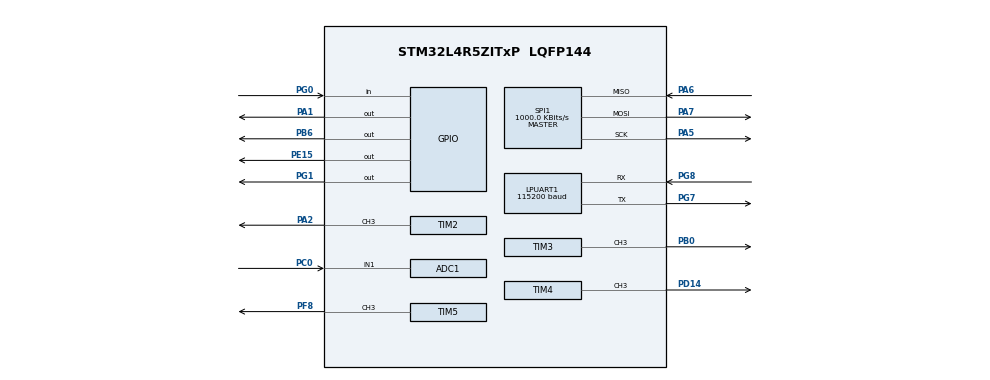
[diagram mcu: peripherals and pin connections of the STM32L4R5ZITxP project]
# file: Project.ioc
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ADC1.Channel-0\#ChannelRegularConversion=ADC_CHANNEL_1
ADC1.ClockPrescaler=ADC_CLOCK_ASYNC_DIV32
ADC1.NbrOfConversionFlag=1
ADC1.OffsetNumber-0\#ChannelRegularConversion=ADC_OFFSET_NONE
ADC1.Rank-0\#ChannelRegularConversion=1
ADC1.SamplingTime-0\#ChannelRegularConversion=ADC_SAMPLETIME_640CYCLES_5
ADC1.master=1
LPUART1.BaudRate=115200
LPUART1.WordLength=UART_WORDLENGTH_8B
Mcu.Family=STM32L4
Mcu.Name=STM32L4R5ZITxP
Mcu.Package=LQFP144
NVIC.PriorityGroup=NVIC_PRIORITYGROUP_4
PA1.Signal=GPIO_Output
PA2.Signal=S_TIM2_CH3
PA5.Mode=Full_Duplex_Master
PA5.Signal=SPI1_SCK
PA6.Mode=Full_Duplex_Master
PA6.Signal=SPI1_MISO
PA7.Mode=Full_Duplex_Master
PA7.Signal=SPI1_MOSI
PB0.Signal=S_TIM3_CH3
PB6.Signal=GPIO_Output
PC0.Signal=ADCx_IN1
PD14.Signal=S_TIM4_CH3
PE15.Signal=GPIO_Output
PF8.Signal=S_TIM5_CH3
PG0.GPIO_PuPd=GPIO_PULLDOWN
PG0.Signal=GPIO_Input
PG1.Signal=GPIO_Output
PG7.Mode=Asynchronous
PG7.Signal=LPUART1_TX
PG8.Mode=Asynchronous
PG8.Signal=LPUART1_RX
ProjectManager.HeapSize=0x200
ProjectManager.StackSize=0x400
ProjectManager.TargetToolchain=STM32CubeIDE
RCC.ADCFreq_Value=32000000
RCC.HSE_VALUE=8000000
RCC.HSI48_VALUE=48000000
RCC.HSI_VALUE=16000000
RCC.LSE_VALUE=32768
RCC.MSI_VALUE=4000000
RCC.PLLSAI1N=16
RCC.USBFreq_Value=32000000
RCC.VCOOutputFreq_Value=32000000
SH.ADCx_IN1.0=ADC1_IN1,IN1-Single-Ended
SH.S_TIM2_CH3.0=TIM2_CH3,PWM Generation3 CH3
SH.S_TIM3_CH3.0=TIM3_CH3,PWM Generation3 CH3
SH.S_TIM4_CH3.0=TIM4_CH3,PWM Generation3 CH3
SH.S_TIM5_CH3.0=TIM5_CH3,PWM Generation3 CH3
SPI1.BaudRatePrescaler=SPI_BAUDRATEPRESCALER_4
SPI1.CLKPhase=SPI_PHASE_1EDGE
SPI1.CLKPolarity=SPI_POLARITY_LOW
SPI1.CalculateBaudRate=1000.0 KBits/s
SPI1.DataSize=SPI_DATASIZE_8BIT
SPI1.Direction=SPI_DIRECTION_2LINES
SPI1.Mode=SPI_MODE_MASTER
SPI1.VirtualType=VM_MASTER
TIM2.Channel-PWM\ Generation3\ CH3=TIM_CHANNEL_3
TIM2.Period=159
TIM2.Prescaler=0
TIM2.Pulse-PWM\ Generation3\ CH3=79
TIM3.Channel-PWM\ Generation3\ CH3=TIM_CHANNEL_3
TIM3.Period=159
TIM3.Prescaler=0
TIM3.Pulse-PWM\ Generation3\ CH3=79
TIM4.Channel-PWM\ Generation3\ CH3=TIM_CHANNEL_3
TIM4.Period=249
TIM4.Prescaler=39
TIM4.Pulse-PWM\ Generation3\ CH3=79
TIM5.Channel-PWM\ Generation3\ CH3=TIM_CHANNEL_3
TIM5.Period=1999
TIM5.Prescaler=39
TIM5.Pulse-PWM\ Generation3\ CH3=10
VP_TIM2_VS_ClockSourceINT.Mode=Internal
VP_TIM3_VS_ClockSourceINT.Mode=Internal
VP_TIM4_VS_ClockSourceINT.Mode=Internal
board=custom

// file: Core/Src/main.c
/* USER CODE BEGIN Header */
/**
  ******************************************************************************
  * @file           : main.c
  * @brief          : Main program body
  ******************************************************************************
  * @attention
  *
  * Copyright (c) 2022 STMicroelectronics.
  * All rights reserved.
  *
  * This software is licensed under terms that can be found in the LICENSE file
  * in the root directory of this software component.
  * If no LICENSE file comes with this software, it is provided AS-IS.
  *
  ******************************************************************************
  */
/* USER CODE END Header */
#include "main.h"

ADC_HandleTypeDef hadc1;

UART_HandleTypeDef hlpuart1;

SPI_HandleTypeDef hspi1;

TIM_HandleTypeDef htim2;
TIM_HandleTypeDef htim3;
TIM_HandleTypeDef htim4;
TIM_HandleTypeDef htim5;

void SystemClock_Config(void);
static void MX_GPIO_Init(void);
static void MX_SPI1_Init(void);
static void MX_LPUART1_UART_Init(void);
static void MX_ADC1_Init(void);
static void MX_TIM2_Init(void);
static void MX_TIM3_Init(void);
static void MX_TIM4_Init(void);
static void MX_TIM5_Init(void);

/* USER CODE BEGIN 0 */
#include "stdio.h"

// ============================
//
// Start: Code originated from Pixy Documentation
//
// ============================

#define PIXY_ARRAYSIZE              100
#define PIXY_START_WORD             0xaa55
#define PIXY_START_WORD_CC          0xaa56
#define PIXY_START_WORDX            0x55aa

#define PIXY_SYNC_BYTE              0x5a
#define PIXY_SYNC_BYTE_DATA         0x5b

// the routines
void pixy_init();
int getStart(void);
uint16_t getBlocks(uint16_t maxBlocks);
static uint16_t getWord(void);
uint8_t getByte(uint8_t out);

typedef enum
{
  NORMAL_BLOCK,
  CC_BLOCK // color code block
} BlockType;

typedef struct
{
  uint16_t signature;
  uint16_t x;
  uint16_t y;
  uint16_t width;
  uint16_t height;
  uint16_t angle; // angle is only available for color coded blocks
} Block;

static BlockType g_blockType; // use this to remember the next object block type between function calls
static int g_skipStart = 0;
static Block *g_blocks;

int getStart(void)
{
  uint16_t w, lastw;

  lastw = 0xffff; // some inconsequential initial value

  while(1)
  {
    w = getWord();
    //printf("%x\n", w);
    if (w==0 && lastw==0){

      return 0; // in I2C and SPI modes this means no data, so return immediately
    }
    else if (w==PIXY_START_WORD && lastw==PIXY_START_WORD)
    {
      g_blockType = NORMAL_BLOCK; // remember block type
      return 1; // code found!
    }
    else if (w==PIXY_START_WORD_CC && lastw==PIXY_START_WORD)
    {
      g_blockType = CC_BLOCK; // found color code block
      return 1;
    }
    else if (w==PIXY_START_WORDX) // this is important, we might be juxtaposed
      getByte(0); // we're out of sync! (backwards)
    lastw = w; // save
  }
}

uint16_t getBlocks(uint16_t maxBlocks)
{
  uint8_t i;
  uint16_t w, blockCount, checksum, sum;
  Block *block;

  if (!g_skipStart)
  {
    if (getStart()==0)
      return 0;
  }
  else
    g_skipStart = 0;

  for(blockCount=0; blockCount<maxBlocks && blockCount<PIXY_ARRAYSIZE;)
  {
    checksum = getWord();
    if (checksum==PIXY_START_WORD) // we've reached the beginning of the next frame
    {
      g_skipStart = 1;
      g_blockType = NORMAL_BLOCK;
      return blockCount;
    }
    else if (checksum==PIXY_START_WORD_CC)
    {
      g_skipStart = 1;
      g_blockType = CC_BLOCK;
      return blockCount;
    }
    else if (checksum==0)
      return blockCount;

    block = g_blocks + blockCount;

    for (i=0, sum=0; i<sizeof(Block)/sizeof(uint16_t); i++)
    {
      if (g_blockType==NORMAL_BLOCK && i>=5) // no angle for normal block
      {
        block->angle = 0;
        break;
      }
      w = getWord();
      sum += w;
      *((uint16_t *)block + i) = w;
    }

    // check checksum
    if (checksum==sum)
      blockCount++;
    else
      printf("checksum error!\n");

    w = getWord();
    if (w==PIXY_START_WORD)
      g_blockType = NORMAL_BLOCK;
    else if (w==PIXY_START_WORD_CC)
      g_blockType = CC_BLOCK;
    else
      return blockCount;
  }
}

void pixy_init()
{
  g_blocks = (Block *)malloc(sizeof(Block)*PIXY_ARRAYSIZE);
}

// ============================
//
// End: Code originated from Pixy Documentation
//
// ============================

// ============================
//
// Start: Code to handle PWM and State
//
// ============================

// Sets a timer's PWM to a value
// timerIndex = which timer (eg TIM2 -> pass 2, TIM3 -> pass 3)
// pwmVal = value to set that timer's CCR to; these should be defined below
void SetPWM(uint16_t timerIndex, uint16_t pwmVal)
{
	TIM_TypeDef* timer;

	switch (timerIndex)
	{
	case 2:
		timer = TIM2;
		break;
	case 3:
		timer = TIM3;
		break;
	case 4:
		timer = TIM4;
		break;
	case 5:
		timer = TIM5;
		break;
	default:
		return; // just in case.
	}

	timer->CCR3 = pwmVal;
}

// States the machine will be in
#define STATE_FIND_BALL		0
#define STATE_GRAB_BALL		1
#define STATE_RETURN_BALL	2
#define STATE_IDLE			4

uint8_t currentState = STATE_IDLE;

// Updates the current state
void UpdateState(uint8_t nextState)
{
	currentState = nextState;
	ResetAverage();
	/*
	switch(currentState)
	{
	case STATE_FIND_BALL:
		ResetAverage();
		break;
	case STATE_GRAB_BALL:
		break;
	case STATE_RETURN_BALL:
		ResetAverage();
		break;
	case STATE_
	}
	//*/
}

// ============================
//
// Start: Code to handle start button and head
//
// ============================

void CheckButton()
{
	if (HAL_GPIO_ReadPin(GPIOG, GPIO_PIN_0))
		UpdateState(STATE_FIND_BALL);
}

#define HEAD_SERVO_MID			140
#define HEAD_SERVO_MAX			180
#define HEAD_SERVO_MIN			100
#define HEAD_SERVO_CHANGE		2
#define HEAD_SERVO_COUNTER_MAX	80

uint16_t headServoWidth = HEAD_SERVO_MIN;
uint16_t headServoChange = HEAD_SERVO_CHANGE;
uint16_t headServoCounter = 0;

void UpdateHead()
{
	headServoCounter += 1;
	if (headServoCounter < HEAD_SERVO_COUNTER_MAX)
		return;

	headServoCounter = 0;
	if (currentState == STATE_IDLE ||
		currentState == STATE_GRAB_BALL)
	{
		headServoWidth = HEAD_SERVO_MID;
	}
	else
	{
		headServoWidth += headServoChange;
		if (headServoWidth >= HEAD_SERVO_MAX)
			headServoChange = -1 * HEAD_SERVO_CHANGE;
		if (headServoWidth <= HEAD_SERVO_MIN)
			headServoChange = HEAD_SERVO_CHANGE;
	}
	SetPWM(5, headServoWidth);
}

// ============================
//
// Start: Code to handle data from the Pixy cam
//
// ============================

// Structures to get data from the Pixy cam
uint8_t rx_data[2];
uint8_t tx_data[2] = { PIXY_SYNC_BYTE, 0 };

// Gets one byte from the Pixy cam
uint8_t getByte(uint8_t output)
{
	HAL_StatusTypeDef hal_status;
	uint8_t data = 0;

	HAL_GPIO_WritePin(GPIOB, GPIO_PIN_6, GPIO_PIN_RESET);
	hal_status = HAL_SPI_TransmitReceive(&hspi1, &output, &data, 1, 0xFFFFFFFF);
	HAL_GPIO_WritePin(GPIOB, GPIO_PIN_6, GPIO_PIN_SET);

	if (hal_status != HAL_OK)
	{
		printf("not ok\n");
	}

	return data;
}

// Gets a word (2 bytes) from the Pixy cam
uint16_t getWord(void)
{
	uint16_t w;

	rx_data[0] = getByte(PIXY_SYNC_BYTE_DATA);
	rx_data[1] = getByte(0);

	w = rx_data[0];
	w <<= 8;
	w |= rx_data[1];

	return w;
}

// Variables for handling the running average
// We're just keeping track of the X value of whatever we're tracking
uint16_t xVals[4] = { 0, 0, 0, 0 };
uint16_t xValsIndex = 0;
float runningAverage = 0.0f;

// Resets the running average and array
void ResetAverage()
{
	xVals[0] = xVals[1] = xVals[2] = xVals[3] = 0;
	runningAverage = 0.0f;
}

// Gets the index of whatever signature we're looking for in the block data from the Pixy cam
// I'm basically assuming whatever we're looking for will be the first piece of data in the blocks.
uint16_t GetSignatureIndex(uint32_t num_blocks, uint16_t sigVal)
{
	int i = 0;
	while (i < num_blocks)
	{
		if (g_blocks[i].signature == sigVal)
		{
			printf("index: %d\n", i);
			return i;
		}
		i++;
	}
	return num_blocks;
}

// Signatures of the items we're looking for
// Will need to make sure these match the actual signatures in the Pixy cam
#define PIXY_SIG_BALL				1
#define PIXY_SIG_RETURN				2
#define NO_BALL_LIMIT				50

// temporary, idk if it'll even work
#define HEIGHT	185

uint16_t noBallCounter = 0;
uint16_t objectWidth = 0;
// Gets the X value of the signature items and updates the running average
// sig = one of the two signatures defined above
void GetNextX(uint16_t sig)
{
	uint32_t num_blocks = getBlocks(PIXY_ARRAYSIZE);
	if (!num_blocks)
	{
		noBallCounter += 1;
		if (noBallCounter >= NO_BALL_LIMIT)
			ResetAverage();
		return;
	}

	noBallCounter = 0;

	uint16_t index = GetSignatureIndex(num_blocks, sig);
	if (index == num_blocks)
		return;

	uint16_t newX = g_blocks[index].x;
	int16_t diff = newX - xVals[xValsIndex];
	runningAverage += diff * 0.25f;

	xVals[xValsIndex] = newX;
	xValsIndex = (xValsIndex + 1) % 4;

	if (g_blocks[index].y >= HEIGHT && currentState == STATE_FIND_BALL)
	{
		UpdateState(STATE_GRAB_BALL);
	}

	objectWidth = g_blocks[index].width;
}

// Updates the Pixy cam
void UpdatePixyCam()
{
	switch (currentState)
	{
	case STATE_FIND_BALL:
		GetNextX(PIXY_SIG_BALL);
		break;
	case STATE_GRAB_BALL:
		return; // pixy cam doesn't need to do anything here
	case STATE_RETURN_BALL:
		GetNextX(PIXY_SIG_RETURN);
		break;
	}
}

// ============================
//
// Start: Code to handle wheel control
//
// ============================

// Defines to make code more readable.
#define WHEEL_LEFT			2
#define WHEEL_RIGHT			3
#define WHEEL_SPEED_ZERO	139
#define WHEEL_SPEED_MAX		0
#define WHEEL_SPEED_FULL	80
#define WHEEL_SPEED_HALF	100
#define MAX_BALL_X			190
#define MIN_BALL_X			130
#define MAX_RETURN_X		220
#define MIN_RETURN_X		100

// Sets the wheel speed
// speed = PWM value for the wheel
// wheel = which wheel to use
// Use the defines above.
void SetWheelSpeed(uint8_t wheel, uint8_t speed)
{
	// still need to determine which timer is controlling which wheel
	// speed = PWM value
	SetPWM(wheel, speed);
}

#define RETURN_WIDTH	60

// Updates the wheel speed
// avgMax = max value the running average can be
// avgMin = min value the running average can be
// speed = speed to set the wheels
// This will turn off one of the wheels depending on where the ball is
void UpdateWheelSpeed(uint16_t avgMax, uint16_t avgMin, uint8_t speed)
{
	uint8_t wheelLeftSpeed = speed;
	uint8_t wheelRightSpeed = speed;
	if (runningAverage < avgMin)
		wheelLeftSpeed = WHEEL_SPEED_ZERO;
	if (runningAverage > avgMax)
		wheelRightSpeed = WHEEL_SPEED_ZERO;

	SetWheelSpeed(WHEEL_LEFT, wheelLeftSpeed);
	SetWheelSpeed(WHEEL_RIGHT, wheelRightSpeed);
}

// Updates the wheels
void UpdateWheels()
{
	uint8_t speed = WHEEL_SPEED_FULL;
	switch (currentState)
	{
	case STATE_FIND_BALL:
		UpdateWheelSpeed(MAX_BALL_X, MIN_BALL_X, speed);
		break;
	case STATE_GRAB_BALL:
		SetWheelSpeed(WHEEL_LEFT, WHEEL_SPEED_HALF);
		SetWheelSpeed(WHEEL_RIGHT, WHEEL_SPEED_HALF);
		break;
	case STATE_RETURN_BALL:
		UpdateWheelSpeed(MAX_RETURN_X, MIN_RETURN_X, speed);
		break;
	}
}

// ============================
//
// Start: Code to handle IR Sensor
//
// ============================

#define DIST_TO_BALL	11.0f
#define maxCount		2
#define irTimerMax		2000

uint8_t counter = 0;
uint16_t irtimer = 0;
// Checks the value reported by the IR sensor
uint8_t CheckIR()
{
	uint16_t adcVal = 0;
	HAL_ADC_Start(&hadc1);
	HAL_ADC_PollForConversion(&hadc1, 0xFFFFFFFF);
	adcVal = HAL_ADC_GetValue(&hadc1);
	float distVal = exp((log(adcVal) - 10.66) / (-1.123));
	//printf("distVal: %f\n", distVal);
	if (distVal <= DIST_TO_BALL)
		counter += 1;
	else
		counter = 0;

	irtimer += 1;
	if (irtimer >= irTimerMax)
	{
		UpdateState(STATE_FIND_BALL);
		irtimer = 0;
	}
	if (counter >= maxCount)
	{
		irtimer = 0;
		return 1;
	}
	return 0;
}

// ============================
//
// Start: Code to handle claw control
//
// ============================

// Defines to make code more readable
#define CLAW_OPEN		110
#define CLAW_CLOSED		170
#define PUSH_TIME		200000
#define WAIT_TIME		1000000
#define CLAW_WAIT_TIME	200000

// Closes the claw
void CloseClaw()
{
	SetPWM(4, CLAW_CLOSED);
}

// Opens the claw
void OpenClaw()
{
	SetPWM(4, CLAW_OPEN);
}

void WaitForClaw()
{
	SetWheelSpeed(WHEEL_LEFT, WHEEL_SPEED_ZERO);
	SetWheelSpeed(WHEEL_RIGHT, WHEEL_SPEED_ZERO);
	for (int i = 0; i < CLAW_WAIT_TIME; i++);
}

// Routine for returning the ball
void ReturnBall()
{
	uint8_t speed = WHEEL_SPEED_MAX;
	//speed /= 2;

	// roll the ball forward
	SetWheelSpeed(WHEEL_LEFT, speed);
	SetWheelSpeed(WHEEL_RIGHT, speed);
	OpenClaw();
	for (int i = 0; i < PUSH_TIME; i++);

	// stop for a little bit
	SetWheelSpeed(WHEEL_LEFT, WHEEL_SPEED_ZERO);
	SetWheelSpeed(WHEEL_RIGHT, WHEEL_SPEED_ZERO);
	//*
	for (int i = 0; i < WAIT_TIME; i++);

	// turn a bit so the camera doesn't immediately find the ball again
	speed = WHEEL_SPEED_FULL;
	SetWheelSpeed(WHEEL_LEFT, WHEEL_SPEED_ZERO);
	SetWheelSpeed(WHEEL_RIGHT, speed);
	for (int i = 0; i < PUSH_TIME * 2; i++);
	//*/
}

// Update the claw
void UpdateClaw()
{
	switch (currentState)
	{
	case STATE_FIND_BALL:
		return; // Claw shouldn't need to do anything here
	case STATE_GRAB_BALL:
    // if IR sensor detects ball
		if (CheckIR())
		{
			CloseClaw();
			WaitForClaw();
			UpdateState(STATE_RETURN_BALL);
		}
		break;
	case STATE_RETURN_BALL:
		if (runningAverage >= MIN_RETURN_X &&
			runningAverage <= MAX_RETURN_X)
		{
			ReturnBall();
			UpdateState(STATE_FIND_BALL);
		}
		break;
	}
}

// Initializes the timers for the wheels
void WheelsInit()
{
	HAL_TIM_PWM_Start(&htim2, TIM_CHANNEL_3);
	HAL_TIM_PWM_Start(&htim3, TIM_CHANNEL_3);
	SetWheelSpeed(WHEEL_LEFT, WHEEL_SPEED_ZERO);
	SetWheelSpeed(WHEEL_RIGHT, WHEEL_SPEED_ZERO);
}

// Initializes the timer for the claw
void ClawInit()
{
	HAL_TIM_PWM_Start(&htim4, TIM_CHANNEL_3);
	OpenClaw();
}

/* USER CODE END 0 */

int main(void)
{

  /* MCU Configuration--------------------------------------------------------*/

  /* Reset of all peripherals, Initializes the Flash interface and the Systick. */
  HAL_Init();

  /* USER CODE BEGIN Init */
	pixy_init();
  /* USER CODE END Init */

  /* Configure the system clock */
  SystemClock_Config();

  /* Initialize all configured peripherals */
  MX_GPIO_Init();
  MX_SPI1_Init();
  MX_LPUART1_UART_Init();
  MX_ADC1_Init();
  MX_TIM2_Init();
  MX_TIM3_Init();
  MX_TIM4_Init();
  MX_TIM5_Init();
  /* USER CODE BEGIN 2 */
	WheelsInit();
	ClawInit();

	HAL_GPIO_WritePin(GPIOA, GPIO_PIN_1, GPIO_PIN_SET);
	HAL_GPIO_WritePin(GPIOE, GPIO_PIN_15, GPIO_PIN_SET);
	HAL_GPIO_WritePin(GPIOG, GPIO_PIN_1, GPIO_PIN_SET);

	HAL_TIM_PWM_Start(&htim5, TIM_CHANNEL_3);
  /* USER CODE END 2 */

  /* Infinite loop */
  /* USER CODE BEGIN WHILE */
	while (1)
	{
		UpdateHead();
		if (currentState == STATE_IDLE)
		{
			CheckButton();
		}
		else
		{
			UpdatePixyCam();
			UpdateWheels();
			UpdateClaw();
		}
		//CheckIR();
		//printf("Current state: %d\n", currentState);

		/*
		//Used to test the Claw PMW, Timer is on 2.5ms period and .1MHz resolution
		//https://www.gie.com.my/shop.php?action=robotics/motors/ldx335

		// I'm leaving all this old code here for reference.
		tim4PWMCCR = clawTest;
		SetPWM(4, tim4PWMCCR);
		for (int i = 0; i < 100000; i++);
		clawTest += add;
		if (clawTest <= 100)
			add = 2;
		if (clawTest >= 160)
			add = -2;

		// runningAverage = avg of x vals
		tim2PWMCCR = 139;
		tim3PWMCCR = tim2PWMCCR;
		SetPWM(2, tim2PWMCCR);
		SetPWM(3, tim3PWMCCR);

		int ADC_VAL = 0;
		HAL_ADC_Start(&hadc1);
		HAL_ADC_PollForConversion(&hadc1, 0xFFFFFFFF);
		ADC_VAL = HAL_ADC_GetValue(&hadc1);
		float DIST_VAL = exp((log(ADC_VAL) - 10.66) / (-1.123));
		//printf("Distance: %f cm\n\r", DIST_VAL);

		while (DIST_VAL > 9)
		{
			// Get updates from the pixy cam
			GetNextBallX();

			SetPWM(2, tim2PWMCCR);
			SetPWM(3, tim3PWMCCR);
			HAL_ADC_Start(&hadc1);
			HAL_ADC_PollForConversion(&hadc1, 0xFFFFFFFF);
			ADC_VAL = HAL_ADC_GetValue(&hadc1);
			float DIST_VAL = exp((log(ADC_VAL) - 10.66) / (-1.123));
			//printf("Distance: %f cm\n", DIST_VAL);
			//*
			while (DIST_VAL < 9)
			{
				tim2PWMCCR = 139;
				tim3PWMCCR = 139;
				SetPWM(2, tim2PWMCCR);
				SetPWM(3, tim3PWMCCR);
				HAL_ADC_Start(&hadc1);
				HAL_ADC_PollForConversion(&hadc1, 0xFFFFFFFF);
				ADC_VAL = HAL_ADC_GetValue(&hadc1);
				DIST_VAL = exp((log(ADC_VAL) - 10.66) / (-1.123));
				printf("Distance: %f cm\n", DIST_VAL);
				for (int i = 0; i < 100000; i++);
			}
		}
		//*/
    /* USER CODE END WHILE */

	}
}

void SystemClock_Config(void)
{
  RCC_OscInitTypeDef RCC_OscInitStruct = {0};
  RCC_ClkInitTypeDef RCC_ClkInitStruct = {0};

  /** Configure the main internal regulator output voltage
  */
  if (HAL_PWREx_ControlVoltageScaling(PWR_REGULATOR_VOLTAGE_SCALE1) != HAL_OK)
  {
    Error_Handler();
  }

  /** Initializes the RCC Oscillators according to the specified parameters
  * in the RCC_OscInitTypeDef structure.
  */
  RCC_OscInitStruct.OscillatorType = RCC_OSCILLATORTYPE_MSI;
  RCC_OscInitStruct.MSIState = RCC_MSI_ON;
  RCC_OscInitStruct.MSICalibrationValue = 0;
  RCC_OscInitStruct.MSIClockRange = RCC_MSIRANGE_6;
  RCC_OscInitStruct.PLL.PLLState = RCC_PLL_NONE;
  if (HAL_RCC_OscConfig(&RCC_OscInitStruct) != HAL_OK)
  {
    Error_Handler();
  }

  /** Initializes the CPU, AHB and APB buses clocks
  */
  RCC_ClkInitStruct.ClockType = RCC_CLOCKTYPE_HCLK|RCC_CLOCKTYPE_SYSCLK
                              |RCC_CLOCKTYPE_PCLK1|RCC_CLOCKTYPE_PCLK2;
  RCC_ClkInitStruct.SYSCLKSource = RCC_SYSCLKSOURCE_MSI;
  RCC_ClkInitStruct.AHBCLKDivider = RCC_SYSCLK_DIV1;
  RCC_ClkInitStruct.APB1CLKDivider = RCC_HCLK_DIV1;
  RCC_ClkInitStruct.APB2CLKDivider = RCC_HCLK_DIV1;

  if (HAL_RCC_ClockConfig(&RCC_ClkInitStruct, FLASH_LATENCY_0) != HAL_OK)
  {
    Error_Handler();
  }
}

static void MX_ADC1_Init(void)
{

  ADC_ChannelConfTypeDef sConfig = {0};

  /** Common config
  */
  hadc1.Instance = ADC1;
  hadc1.Init.ClockPrescaler = ADC_CLOCK_ASYNC_DIV32;
  hadc1.Init.Resolution = ADC_RESOLUTION_12B;
  hadc1.Init.DataAlign = ADC_DATAALIGN_RIGHT;
  hadc1.Init.ScanConvMode = ADC_SCAN_DISABLE;
  hadc1.Init.EOCSelection = ADC_EOC_SINGLE_CONV;
  hadc1.Init.LowPowerAutoWait = DISABLE;
  hadc1.Init.ContinuousConvMode = DISABLE;
  hadc1.Init.NbrOfConversion = 1;
  hadc1.Init.DiscontinuousConvMode = DISABLE;
  hadc1.Init.ExternalTrigConv = ADC_SOFTWARE_START;
  hadc1.Init.ExternalTrigConvEdge = ADC_EXTERNALTRIGCONVEDGE_NONE;
  hadc1.Init.DMAContinuousRequests = DISABLE;
  hadc1.Init.Overrun = ADC_OVR_DATA_PRESERVED;
  hadc1.Init.OversamplingMode = DISABLE;
  if (HAL_ADC_Init(&hadc1) != HAL_OK)
  {
    Error_Handler();
  }

  /** Configure Regular Channel
  */
  sConfig.Channel = ADC_CHANNEL_1;
  sConfig.Rank = ADC_REGULAR_RANK_1;
  sConfig.SamplingTime = ADC_SAMPLETIME_640CYCLES_5;
  sConfig.SingleDiff = ADC_SINGLE_ENDED;
  sConfig.OffsetNumber = ADC_OFFSET_NONE;
  sConfig.Offset = 0;
  if (HAL_ADC_ConfigChannel(&hadc1, &sConfig) != HAL_OK)
  {
    Error_Handler();
  }

}

static void MX_LPUART1_UART_Init(void)
{

  hlpuart1.Instance = LPUART1;
  hlpuart1.Init.BaudRate = 115200;
  hlpuart1.Init.WordLength = UART_WORDLENGTH_8B;
  hlpuart1.Init.StopBits = UART_STOPBITS_1;
  hlpuart1.Init.Parity = UART_PARITY_NONE;
  hlpuart1.Init.Mode = UART_MODE_TX_RX;
  hlpuart1.Init.HwFlowCtl = UART_HWCONTROL_NONE;
  hlpuart1.Init.OneBitSampling = UART_ONE_BIT_SAMPLE_DISABLE;
  hlpuart1.Init.ClockPrescaler = UART_PRESCALER_DIV1;
  hlpuart1.AdvancedInit.AdvFeatureInit = UART_ADVFEATURE_NO_INIT;
  hlpuart1.FifoMode = UART_FIFOMODE_DISABLE;
  if (HAL_UART_Init(&hlpuart1) != HAL_OK)
  {
    Error_Handler();
  }
  if (HAL_UARTEx_SetTxFifoThreshold(&hlpuart1, UART_TXFIFO_THRESHOLD_1_8) != HAL_OK)
  {
    Error_Handler();
  }
  if (HAL_UARTEx_SetRxFifoThreshold(&hlpuart1, UART_RXFIFO_THRESHOLD_1_8) != HAL_OK)
  {
    Error_Handler();
  }
  if (HAL_UARTEx_DisableFifoMode(&hlpuart1) != HAL_OK)
  {
    Error_Handler();
  }

}

static void MX_SPI1_Init(void)
{

  /* SPI1 parameter configuration*/
  hspi1.Instance = SPI1;
  hspi1.Init.Mode = SPI_MODE_MASTER;
  hspi1.Init.Direction = SPI_DIRECTION_2LINES;
  hspi1.Init.DataSize = SPI_DATASIZE_8BIT;
  hspi1.Init.CLKPolarity = SPI_POLARITY_LOW;
  hspi1.Init.CLKPhase = SPI_PHASE_1EDGE;
  hspi1.Init.NSS = SPI_NSS_SOFT;
  hspi1.Init.BaudRatePrescaler = SPI_BAUDRATEPRESCALER_4;
  hspi1.Init.FirstBit = SPI_FIRSTBIT_MSB;
  hspi1.Init.TIMode = SPI_TIMODE_DISABLE;
  hspi1.Init.CRCCalculation = SPI_CRCCALCULATION_DISABLE;
  hspi1.Init.CRCPolynomial = 7;
  hspi1.Init.CRCLength = SPI_CRC_LENGTH_DATASIZE;
  hspi1.Init.NSSPMode = SPI_NSS_PULSE_ENABLE;
  if (HAL_SPI_Init(&hspi1) != HAL_OK)
  {
    Error_Handler();
  }

}

static void MX_TIM2_Init(void)
{

  TIM_ClockConfigTypeDef sClockSourceConfig = {0};
  TIM_MasterConfigTypeDef sMasterConfig = {0};
  TIM_OC_InitTypeDef sConfigOC = {0};

  htim2.Instance = TIM2;
  htim2.Init.Prescaler = 0;
  htim2.Init.CounterMode = TIM_COUNTERMODE_UP;
  htim2.Init.Period = 159;
  htim2.Init.ClockDivision = TIM_CLOCKDIVISION_DIV1;
  htim2.Init.AutoReloadPreload = TIM_AUTORELOAD_PRELOAD_DISABLE;
  if (HAL_TIM_Base_Init(&htim2) != HAL_OK)
  {
    Error_Handler();
  }
  sClockSourceConfig.ClockSource = TIM_CLOCKSOURCE_INTERNAL;
  if (HAL_TIM_ConfigClockSource(&htim2, &sClockSourceConfig) != HAL_OK)
  {
    Error_Handler();
  }
  if (HAL_TIM_PWM_Init(&htim2) != HAL_OK)
  {
    Error_Handler();
  }
  sMasterConfig.MasterOutputTrigger = TIM_TRGO_RESET;
  sMasterConfig.MasterSlaveMode = TIM_MASTERSLAVEMODE_DISABLE;
  if (HAL_TIMEx_MasterConfigSynchronization(&htim2, &sMasterConfig) != HAL_OK)
  {
    Error_Handler();
  }
  sConfigOC.OCMode = TIM_OCMODE_PWM1;
  sConfigOC.Pulse = 79;
  sConfigOC.OCPolarity = TIM_OCPOLARITY_HIGH;
  sConfigOC.OCFastMode = TIM_OCFAST_DISABLE;
  if (HAL_TIM_PWM_ConfigChannel(&htim2, &sConfigOC, TIM_CHANNEL_3) != HAL_OK)
  {
    Error_Handler();
  }
  HAL_TIM_MspPostInit(&htim2);

}

static void MX_TIM3_Init(void)
{

  TIM_ClockConfigTypeDef sClockSourceConfig = {0};
  TIM_MasterConfigTypeDef sMasterConfig = {0};
  TIM_OC_InitTypeDef sConfigOC = {0};

  htim3.Instance = TIM3;
  htim3.Init.Prescaler = 0;
  htim3.Init.CounterMode = TIM_COUNTERMODE_UP;
  htim3.Init.Period = 159;
  htim3.Init.ClockDivision = TIM_CLOCKDIVISION_DIV1;
  htim3.Init.AutoReloadPreload = TIM_AUTORELOAD_PRELOAD_DISABLE;
  if (HAL_TIM_Base_Init(&htim3) != HAL_OK)
  {
    Error_Handler();
  }
  sClockSourceConfig.ClockSource = TIM_CLOCKSOURCE_INTERNAL;
  if (HAL_TIM_ConfigClockSource(&htim3, &sClockSourceConfig) != HAL_OK)
  {
    Error_Handler();
  }
  if (HAL_TIM_PWM_Init(&htim3) != HAL_OK)
  {
    Error_Handler();
  }
  sMasterConfig.MasterOutputTrigger = TIM_TRGO_RESET;
  sMasterConfig.MasterSlaveMode = TIM_MASTERSLAVEMODE_DISABLE;
  if (HAL_TIMEx_MasterConfigSynchronization(&htim3, &sMasterConfig) != HAL_OK)
  {
    Error_Handler();
  }
  sConfigOC.OCMode = TIM_OCMODE_PWM1;
  sConfigOC.Pulse = 79;
  sConfigOC.OCPolarity = TIM_OCPOLARITY_HIGH;
  sConfigOC.OCFastMode = TIM_OCFAST_DISABLE;
  if (HAL_TIM_PWM_ConfigChannel(&htim3, &sConfigOC, TIM_CHANNEL_3) != HAL_OK)
  {
    Error_Handler();
  }
  HAL_TIM_MspPostInit(&htim3);

}

static void MX_TIM4_Init(void)
{

  TIM_ClockConfigTypeDef sClockSourceConfig = {0};
  TIM_MasterConfigTypeDef sMasterConfig = {0};
  TIM_OC_InitTypeDef sConfigOC = {0};

  htim4.Instance = TIM4;
  htim4.Init.Prescaler = 39;
  htim4.Init.CounterMode = TIM_COUNTERMODE_UP;
  htim4.Init.Period = 249;
  htim4.Init.ClockDivision = TIM_CLOCKDIVISION_DIV1;
  htim4.Init.AutoReloadPreload = TIM_AUTORELOAD_PRELOAD_DISABLE;
  if (HAL_TIM_Base_Init(&htim4) != HAL_OK)
  {
    Error_Handler();
  }
  sClockSourceConfig.ClockSource = TIM_CLOCKSOURCE_INTERNAL;
  if (HAL_TIM_ConfigClockSource(&htim4, &sClockSourceConfig) != HAL_OK)
  {
    Error_Handler();
  }
  if (HAL_TIM_PWM_Init(&htim4) != HAL_OK)
  {
    Error_Handler();
  }
  sMasterConfig.MasterOutputTrigger = TIM_TRGO_RESET;
  sMasterConfig.MasterSlaveMode = TIM_MASTERSLAVEMODE_DISABLE;
  if (HAL_TIMEx_MasterConfigSynchronization(&htim4, &sMasterConfig) != HAL_OK)
  {
    Error_Handler();
  }
  sConfigOC.OCMode = TIM_OCMODE_PWM1;
  sConfigOC.Pulse = 79;
  sConfigOC.OCPolarity = TIM_OCPOLARITY_HIGH;
  sConfigOC.OCFastMode = TIM_OCFAST_DISABLE;
  if (HAL_TIM_PWM_ConfigChannel(&htim4, &sConfigOC, TIM_CHANNEL_3) != HAL_OK)
  {
    Error_Handler();
  }
  HAL_TIM_MspPostInit(&htim4);

}

static void MX_TIM5_Init(void)
{

  TIM_MasterConfigTypeDef sMasterConfig = {0};
  TIM_OC_InitTypeDef sConfigOC = {0};

  htim5.Instance = TIM5;
  htim5.Init.Prescaler = 39;
  htim5.Init.CounterMode = TIM_COUNTERMODE_UP;
  htim5.Init.Period = 1999;
  htim5.Init.ClockDivision = TIM_CLOCKDIVISION_DIV1;
  htim5.Init.AutoReloadPreload = TIM_AUTORELOAD_PRELOAD_DISABLE;
  if (HAL_TIM_PWM_Init(&htim5) != HAL_OK)
  {
    Error_Handler();
  }
  sMasterConfig.MasterOutputTrigger = TIM_TRGO_RESET;
  sMasterConfig.MasterSlaveMode = TIM_MASTERSLAVEMODE_DISABLE;
  if (HAL_TIMEx_MasterConfigSynchronization(&htim5, &sMasterConfig) != HAL_OK)
  {
    Error_Handler();
  }
  sConfigOC.OCMode = TIM_OCMODE_PWM1;
  sConfigOC.Pulse = 10;
  sConfigOC.OCPolarity = TIM_OCPOLARITY_HIGH;
  sConfigOC.OCFastMode = TIM_OCFAST_DISABLE;
  if (HAL_TIM_PWM_ConfigChannel(&htim5, &sConfigOC, TIM_CHANNEL_3) != HAL_OK)
  {
    Error_Handler();
  }
  HAL_TIM_MspPostInit(&htim5);

}

static void MX_GPIO_Init(void)
{
  GPIO_InitTypeDef GPIO_InitStruct = {0};

  /* GPIO Ports Clock Enable */
  __HAL_RCC_GPIOF_CLK_ENABLE();
  __HAL_RCC_GPIOC_CLK_ENABLE();
  __HAL_RCC_GPIOA_CLK_ENABLE();
  __HAL_RCC_GPIOB_CLK_ENABLE();
  __HAL_RCC_GPIOG_CLK_ENABLE();
  __HAL_RCC_GPIOE_CLK_ENABLE();
  __HAL_RCC_GPIOD_CLK_ENABLE();
  HAL_PWREx_EnableVddIO2();

  /*Configure GPIO pin Output Level */
  HAL_GPIO_WritePin(GPIOA, GPIO_PIN_1, GPIO_PIN_RESET);

  /*Configure GPIO pin Output Level */
  HAL_GPIO_WritePin(GPIOG, GPIO_PIN_1, GPIO_PIN_RESET);

  /*Configure GPIO pin Output Level */
  HAL_GPIO_WritePin(GPIOE, GPIO_PIN_15, GPIO_PIN_RESET);

  /*Configure GPIO pin Output Level */
  HAL_GPIO_WritePin(GPIOB, GPIO_PIN_6, GPIO_PIN_RESET);

  /*Configure GPIO pin : PA1 */
  GPIO_InitStruct.Pin = GPIO_PIN_1;
  GPIO_InitStruct.Mode = GPIO_MODE_OUTPUT_PP;
  GPIO_InitStruct.Pull = GPIO_NOPULL;
  GPIO_InitStruct.Speed = GPIO_SPEED_FREQ_LOW;
  HAL_GPIO_Init(GPIOA, &GPIO_InitStruct);

  /*Configure GPIO pin : PG0 */
  GPIO_InitStruct.Pin = GPIO_PIN_0;
  GPIO_InitStruct.Mode = GPIO_MODE_INPUT;
  GPIO_InitStruct.Pull = GPIO_PULLDOWN;
  HAL_GPIO_Init(GPIOG, &GPIO_InitStruct);

  /*Configure GPIO pin : PG1 */
  GPIO_InitStruct.Pin = GPIO_PIN_1;
  GPIO_InitStruct.Mode = GPIO_MODE_OUTPUT_PP;
  GPIO_InitStruct.Pull = GPIO_NOPULL;
  GPIO_InitStruct.Speed = GPIO_SPEED_FREQ_LOW;
  HAL_GPIO_Init(GPIOG, &GPIO_InitStruct);

  /*Configure GPIO pin : PE15 */
  GPIO_InitStruct.Pin = GPIO_PIN_15;
  GPIO_InitStruct.Mode = GPIO_MODE_OUTPUT_PP;
  GPIO_InitStruct.Pull = GPIO_NOPULL;
  GPIO_InitStruct.Speed = GPIO_SPEED_FREQ_LOW;
  HAL_GPIO_Init(GPIOE, &GPIO_InitStruct);

  /*Configure GPIO pin : PB6 */
  GPIO_InitStruct.Pin = GPIO_PIN_6;
  GPIO_InitStruct.Mode = GPIO_MODE_OUTPUT_PP;
  GPIO_InitStruct.Pull = GPIO_NOPULL;
  GPIO_InitStruct.Speed = GPIO_SPEED_FREQ_LOW;
  HAL_GPIO_Init(GPIOB, &GPIO_InitStruct);

}

/* USER CODE BEGIN 4 */
#ifdef __GNUC__
#define PUTCHAR_PROTOTYPE int __io_putchar(int ch)
#else
	#define PUTCHAR_PROTOTYPE int fputc(int ch, FILE *f)
#endif /* __GNUC__ */
PUTCHAR_PROTOTYPE
{
	HAL_UART_Transmit(&hlpuart1, (uint8_t*)&ch, 1, 0xFFFF);
	return ch;
}
/* USER CODE END 4 */

void Error_Handler(void)
{
  __disable_irq();
  while (1)
  {
  }
}
